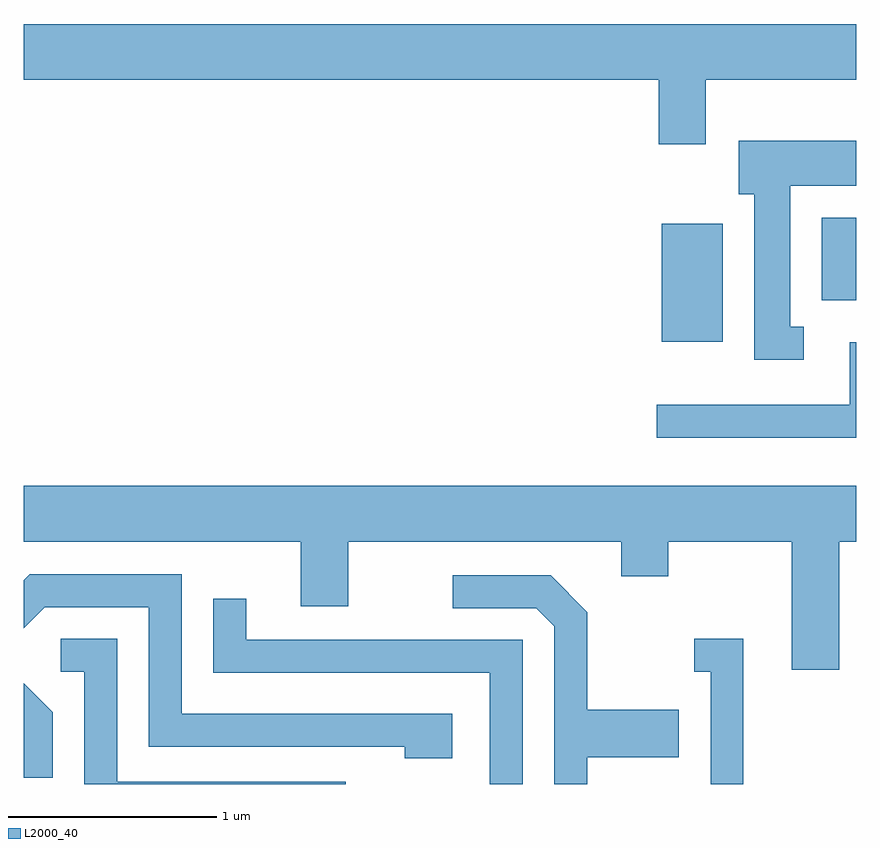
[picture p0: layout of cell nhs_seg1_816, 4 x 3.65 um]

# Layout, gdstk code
import gdstk
lib = gdstk.Library(unit=1e-6, precision=1e-09)
def R(c, l, rs):  # rectangles x0, y0, x1, y1
    for r in rs: c.add(gdstk.rectangle(r[:2], r[2:], *l))
def P(c, l, *ps):  # polygons
    for p in ps: c.add(gdstk.Polygon(p, *l))
L2000_40 = (2000, 40)

nhs_seg1_816 = lib.new_cell('nhs_seg1_816')
R(nhs_seg1_816, L2000_40, [(212.676,933.836,212.969,934.404), (213.446,934.036,213.611,934.434)])
P(nhs_seg1_816, L2000_40, [(212.889,935.096),(213.611,935.096),(213.611,935.364),(209.611,935.364),(209.611,935.096),(212.661,935.096),(212.661,934.786),(212.889,934.786)],
  [(213.358,933.909),(213.294,933.909),(213.294,934.586),(213.611,934.586),(213.611,934.804),(213.046,934.804),(213.046,934.546),(213.121,934.546),(213.121,933.751),(213.358,933.751)],
  [(213.611,933.834),(213.581,933.834),(213.581,933.534),(212.653,933.534),(212.653,933.376),(213.611,933.376)],
  [(213.529,932.876),(213.611,932.876),(213.611,933.144),(209.611,933.144),(209.611,932.876),(210.941,932.876),(210.941,932.566),(211.169,932.566),(211.169,932.876),(212.481,932.876),(212.481,932.711),(212.709,932.711),(212.709,932.876),(213.301,932.876),(213.301,932.261),(213.529,932.261)],
  [(211.669,932.049),(210.369,932.049),(210.369,932.719),(209.639,932.719),(209.611,932.691),(209.611,932.46),(209.712,932.561),(210.211,932.561),(210.211,931.891),(211.441,931.891),(211.441,931.836),(211.669,931.836)],
  [(212.319,931.841),(212.759,931.841),(212.759,932.069),(212.319,932.069),(212.319,932.537),(212.142,932.714),(211.673,932.714),(211.673,932.556),(212.074,932.556),(212.161,932.469),(212.161,931.712),(212.319,931.712)],
  [(212.009,932.404),(210.679,932.404),(210.679,932.603),(210.521,932.603),(210.521,932.246),(211.851,932.246),(211.851,931.712),(212.009,931.712)],
  [(213.069,932.409),(212.833,932.409),(212.833,932.251),(212.911,932.251),(212.911,931.712),(213.069,931.712)],
  [(211.158,931.724),(210.059,931.724),(210.059,932.409),(209.788,932.409),(209.788,932.251),(209.901,932.251),(209.901,931.712),(211.158,931.712)],
  [(209.749,932.057),(209.611,932.195),(209.611,931.743),(209.749,931.743)])

lib.write_gds('nhs_seg1_816.gds')
